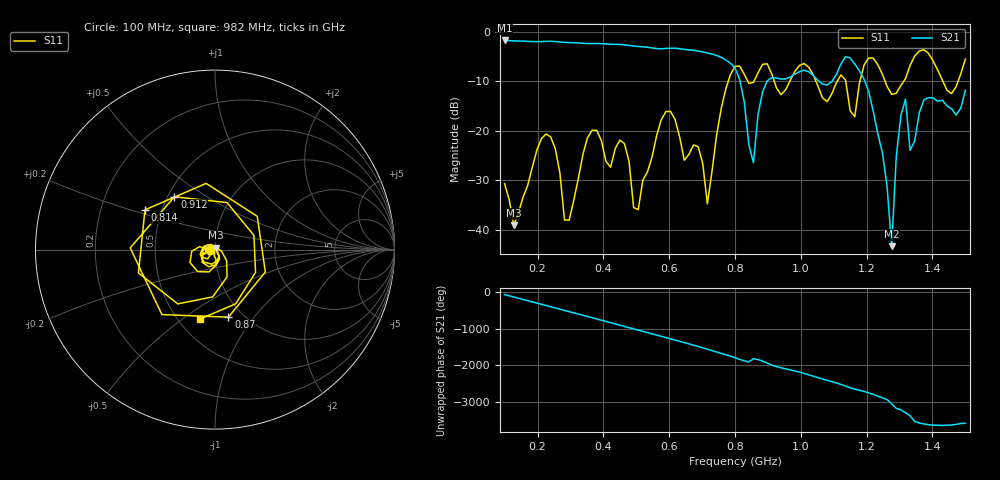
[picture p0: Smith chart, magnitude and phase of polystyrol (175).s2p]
! NanoVNA-App
! Date: 2025-09-25 15:31:15
! Start: 100MHz Stop: 1,5GHz Points: 101
! S-Parameter data: F S11 S21 S12 S22
# Hz S RI R 50
!  Frequency  S11_Real  S11_Imag  S21_Real  S21_Imag  S12_Real  S12_Imag  S22_Real  S22_Imag
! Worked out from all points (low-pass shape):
!   101 points, 100 MHz to 1.5 GHz, reference 50 ohm
!   highest |S21| = -1.80 dB at 100 MHz (marker M1); lowest = -43.3 dB at 1.276 GHz (marker M2)
!   |S21| within 3 dB of the highest: start of sweep to 743.1 MHz
!   lowest |S11| = -39.1 dB at 128 MHz (marker M3), VSWR 1.02, Z = 50.3 + j1.07 ohm
!   |S11| at or under -10 dB: start of sweep to 779.7 MHz; 1.046 GHz to 1.111 GHz (65.07 MHz wide, 6.04 % of centre); 1.256 GHz to 1.313 GHz (56.96 MHz wide, 4.44 % of centre) (the widest 3 of 7)
!   S12 and S22 are empty: the file has one direction only
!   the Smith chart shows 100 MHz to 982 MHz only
!   S11 on the Smith chart (normalised r, x): 100 MHz: 0.94, -0.01; 814 MHz: 0.40, +0.22; 870 MHz: 0.85, -0.75; 912 MHz: 0.54, +0.37; 982 MHz: 0.64, -0.58
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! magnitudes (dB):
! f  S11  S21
! 100 MHz  -30.7  -1.8
! 128 MHz  -39.1  -1.9
! 212 MHz  -21.6  -2.0
! 282 MHz  -38.0  -2.2
! 338 MHz  -24.8  -2.4
! 464 MHz  -22.6  -2.7
! 506 MHz  -35.9  -3.0
! 576 MHz  -17.8  -3.5
! 716 MHz  -34.7  -4.3
! 800 MHz  -7.0  -7.4
! 814 MHz  -7.0  -9.6
! 856 MHz  -10.3  -26.5
! 870 MHz  -8.3  -16.7
! 912 MHz  -8.6  -9.3
! 982 MHz  -8.0  -8.6
! 1.038 GHz  -8.8  -8.9
! 1.164 GHz  -17.2  -6.5
! 1.192 GHz  -6.8  -9.6
! 1.276 GHz  -12.7  -43.3
! 1.318 GHz  -9.5  -13.6
! 1.332 GHz  -6.8  -23.9
! 1.5 GHz  -5.5  -11.8
